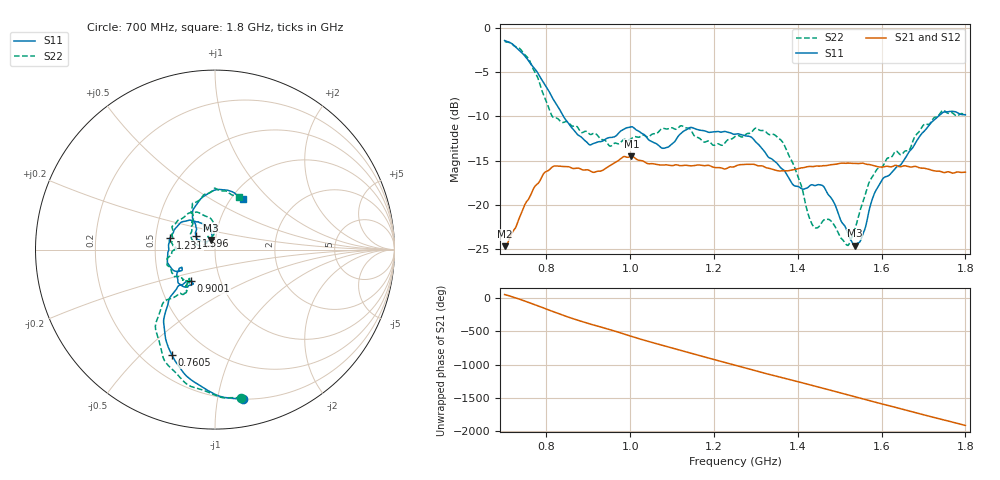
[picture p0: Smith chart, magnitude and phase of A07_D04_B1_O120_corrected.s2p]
! Created with skrf 1.9.0 (http://scikit-rf.org).
# Hz S RI R 50.0
!freq ReS11 ImS11 ReS21 ImS21 ReS12 ImS12 ReS22 ImS22
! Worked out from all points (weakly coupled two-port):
!   1601 points, 700 MHz to 1.8 GHz, reference 50 ohm
!   highest |S21| = -14.51 dB at 1.002 GHz (marker M1); lowest = -24.6 dB at 700.7 MHz (marker M2)
!   lowest |S11| = -24.6 dB at 1.535 GHz (marker M3), VSWR 1.13, Z = 47.4 + j5.13 ohm
!   |S11| at or under -10 dB: 840.5 MHz to 1.735 GHz (894.3 MHz wide, 69.5 % of centre)
!   |S22| runs from -24.5 to -1.5 dB; largest |S21 - S12| = 0.0034
!   S11 on the Smith chart (normalised r, x): 700 MHz: 0.20, -1.19; 760.5 MHz: 0.32, -0.62; 900.1 MHz: 0.72, -0.27; 1.231 GHz: 0.60, +0.09; 1.596 GHz: 0.80, +0.13; 1.8 GHz: 1.13, +0.71
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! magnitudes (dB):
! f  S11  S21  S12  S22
! 700 MHz  -1.4  -24.6  -24.4  -1.5
! 700.7 MHz  -1.4  -24.6  -24.3  -1.5
! 760.5 MHz  -4.0  -19.0  -18.9  -3.8
! 814.1 MHz  -7.9  -15.7  -15.7  -10.0
! 883.6 MHz  -12.3  -16.0  -15.9  -11.8
! 900.1 MHz  -13.1  -16.0  -16.1  -11.9
! 1.002 GHz  -11.2  -14.5  -14.6  -12.5
! 1.067 GHz  -13.2  -15.5  -15.4  -11.8
! 1.143 GHz  -11.2  -15.6  -15.6  -11.5
! 1.231 GHz  -11.7  -15.8  -15.8  -12.7
! 1.25 GHz  -12.0  -15.6  -15.6  -12.3
! 1.361 GHz  -15.9  -16.1  -16.1  -12.7
! 1.392 GHz  -17.8  -16.0  -16.0  -15.7
! 1.434 GHz  -17.7  -15.7  -15.6  -22.1
! 1.476 GHz  -19.0  -15.5  -15.5  -21.7
! 1.517 GHz  -22.9  -15.3  -15.3  -24.5
! 1.535 GHz  -24.6  -15.3  -15.3  -22.8
! 1.57 GHz  -20.7  -15.4  -15.4  -17.5
! 1.596 GHz  -17.6  -15.7  -15.7  -15.8
! 1.617 GHz  -16.7  -15.7  -15.6  -14.7
! 1.742 GHz  -9.7  -16.2  -16.2  -9.5
! 1.8 GHz  -9.8  -16.3  -16.3  -9.9
